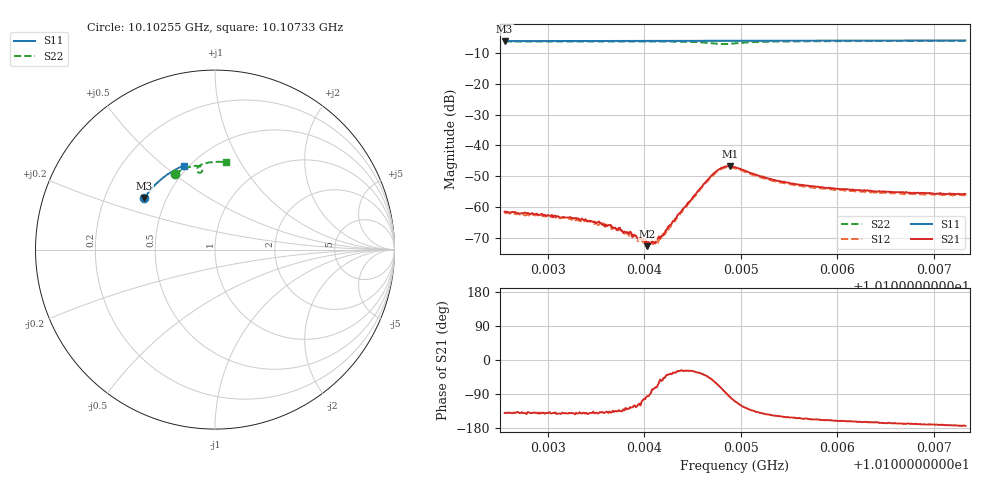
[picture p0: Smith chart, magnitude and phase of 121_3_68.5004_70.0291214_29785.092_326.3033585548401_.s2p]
#  HZ  S  RI  R  50.00
! Rohde & Schwarz Vector Network Analyzer
! Rohde-Schwarz,ZNB20-2Port,1311601062101988,3.16
! Created: UTC 3/20/2024, 4:53:59 PM
! freq[Hz]  re:S11  im:S11  re:S21  im:S21  re:S12  im:S12  re:S22  im:S22
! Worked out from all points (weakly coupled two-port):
!   401 points, 10.10255 GHz to 10.10733 GHz, reference 50 ohm
!   highest |S21| = -46.72 dB at 10.10489 GHz (marker M1); lowest = -72.6 dB at 10.10403 GHz (marker M2)
!   lowest |S11| = -6.3 dB at 10.10255 GHz (marker M3), VSWR 2.90, Z = 18.9 + j14.2 ohm
!   |S11| at or under -10 dB: nowhere
!   |S22| runs from -7.2 to -6.2 dB; largest |S21 - S12| = 0.00046
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1.0102554e10  -0.3932 0.2873  -0.000647 -0.00055  -0.000538 -0.000608  -0.2241 0.4238
1.0103007e10  -0.3772 0.3101  -0.000569 -0.000483  -0.000512 -0.000504  -0.1977 0.4381
1.0103353e10  -0.3645 0.3265  -0.000516 -0.000409  -0.000431 -0.000419  -0.1766 0.448
1.0103556e10  -0.3565 0.3361  -0.000417 -0.000365  -0.000376 -0.00039  -0.1636 0.4532
1.0103652e10  -0.3526 0.3403  -0.000389 -0.000343  -0.000321 -0.000375  -0.1574 0.4555
1.01037e10  -0.3508 0.3426  -0.00033 -0.000333  -0.000291 -0.000346  -0.1542 0.4566
1.0103879e10  -0.3435 0.3506  -0.000189 -0.000269  -0.000176 -0.000302  -0.1419 0.4605
1.0103939e10  -0.3408 0.3532  -0.000147 -0.000282  -0.000105 -0.000262  -0.1376 0.4619
1.0104034e10  -0.3369 0.3574  -2.05e-05 -0.000235  -6.27e-06 -0.000282  -0.1304 0.4636
1.0104094e10  -0.3344 0.3601  5.84e-05 -0.000263  5.81e-05 -0.000247  -0.1259 0.4648
1.0104153e10  -0.332 0.3627  0.000172 -0.000291  0.000192 -0.000233  -0.1211 0.4656
1.0104189e10  -0.3305 0.3642  0.000203 -0.000279  0.00024 -0.000277  -0.1182 0.4661
1.0104368e10  -0.3225 0.3716  0.000708 -0.000395  0.000695 -0.000308  -0.1022 0.4669
1.0104607e10  -0.3118 0.3814  0.0018 -0.00136  0.00184 -0.00117  -0.0771 0.4575
1.0104715e10  -0.3067 0.3857  0.00202 -0.0028  0.00215 -0.00249  -0.071 0.4426
1.010481e10  -0.3024 0.3894  0.000982 -0.00429  0.00129 -0.00405  -0.08 0.4291
1.0104894e10  -0.2987 0.3925  -0.000711 -0.00456  -0.000271 -0.00443  -0.0942 0.4307
1.0104942e10  -0.2965 0.3944  -0.00145 -0.00422  -0.00105 -0.00413  -0.0991 0.437
1.0105359e10  -0.2764 0.4101  -0.00228 -0.00149  -0.00208 -0.00161  -0.0764 0.4736
1.0105741e10  -0.2576 0.4235  -0.00203 -0.000842  -0.00183 -0.000979  -0.0477 0.4825
1.0106541e10  -0.2159 0.4481  -0.00174 -0.000437  -0.00159 -0.000543  0.00715 0.4888
1.010733e10  -0.1727 0.4683  -0.00163 -0.00018  -0.00152 -0.000331  0.0589 0.4875
